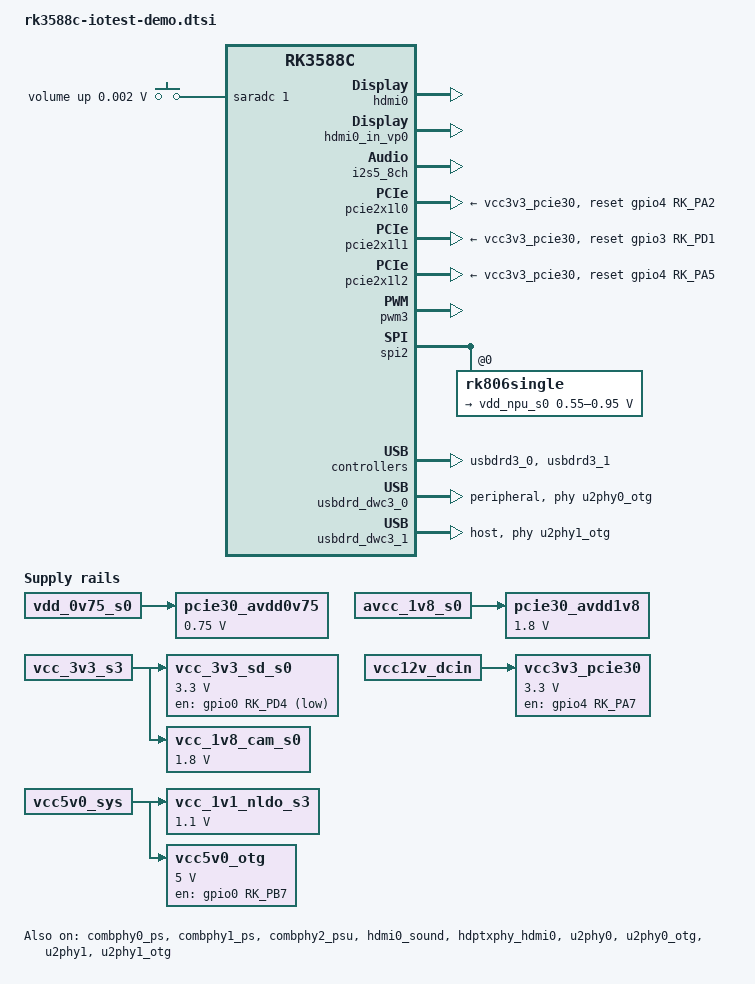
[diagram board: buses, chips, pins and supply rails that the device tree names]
// SPDX-License-Identifier: (GPL-2.0+ OR MIT)
/*
 * Copyright (c) 2021 Rockchip Electronics Co., Ltd.
 *
 */

#include <dt-bindings/gpio/gpio.h>
#include <dt-bindings/pwm/pwm.h>
#include <dt-bindings/pinctrl/rockchip.h>
#include <dt-bindings/input/rk-input.h>
#include <dt-bindings/display/rockchip_vop.h>
#include "dt-bindings/usb/pd.h"
#include "rk3588c-iotest.dtsi"
#include "rk3588-rk806-single.dtsi"

/ {
	adc_keys: adc-keys {
		compatible = "adc-keys";
		io-channels = <&saradc 1>;
		io-channel-names = "buttons";
		keyup-threshold-microvolt = <1800000>;
		poll-interval = <100>;

		vol-up-key {
			label = "volume up";
			linux,code = <KEY_VOLUMEUP>;
			press-threshold-microvolt = <1750>;
		};
	};

	pcie30_avdd0v75: pcie30-avdd0v75 {
		compatible = "regulator-fixed";
		regulator-name = "pcie30_avdd0v75";
		regulator-boot-on;
		regulator-always-on;
		regulator-min-microvolt = <750000>;
		regulator-max-microvolt = <750000>;
		vin-supply = <&vdd_0v75_s0>;
	};

	pcie30_avdd1v8: pcie30-avdd1v8 {
		compatible = "regulator-fixed";
		regulator-name = "pcie30_avdd1v8";
		regulator-boot-on;
		regulator-always-on;
		regulator-min-microvolt = <1800000>;
		regulator-max-microvolt = <1800000>;
		vin-supply = <&avcc_1v8_s0>;
	};

	reserved-memory {
		#address-cells = <2>;
		#size-cells = <2>;
		ranges;
		dma_trans: dma-trans@3c000000 {
			reg = <0x0 0x3c000000 0x0 0x04000000>;
		};
		user_region: user_region@0x10000000 {
			reg = <0x0 0x10000000 0x0 0x1000>;
		};
	};

	vcc_3v3_sd_s0: vcc-3v3-sd-s0 {
		compatible = "regulator-fixed";
		regulator-name = "vcc_3v3_sd_s0";
		regulator-min-microvolt = <3300000>;
		regulator-max-microvolt = <3300000>;
		gpios = <&gpio0 RK_PD4 GPIO_ACTIVE_LOW>;
		enable-active-low;
		vin-supply = <&vcc_3v3_s3>;
		regulator-state-mem {
				regulator-off-in-suspend;
		};
	};

	vcc3v3_pcie30: vcc3v3-pcie30 {
		compatible = "regulator-fixed";
		regulator-name = "vcc3v3_pcie30";
		regulator-min-microvolt = <3300000>;
		regulator-max-microvolt = <3300000>;
		enable-active-high;
		gpio = <&gpio4 RK_PA7 GPIO_ACTIVE_HIGH>;
		startup-delay-us = <100000>;
		vin-supply = <&vcc12v_dcin>;
		pinctrl-names = "default";
		pinctrl-0 = <&pcie30_pwr_en>;
	};

	vcc_1v1_nldo_s3: vcc-1v1-nldo-s3 {
		compatible = "regulator-fixed";
		regulator-name = "vcc_1v1_nldo_s3";
		regulator-always-on;
		regulator-boot-on;
		regulator-min-microvolt = <1100000>;
		regulator-max-microvolt = <1100000>;
		vin-supply = <&vcc5v0_sys>;
	};

	vcc_1v8_cam_s0: vcc-1v8-cam-s0 {
		compatible = "regulator-fixed";
		regulator-name = "vcc_1v8_cam_s0";
		regulator-min-microvolt = <1800000>;
		regulator-max-microvolt = <1800000>;
		vin-supply = <&vcc_3v3_s3>;
	};

	vcc5v0_otg: vcc5v0-otg-regulator {
		compatible = "regulator-fixed";
		regulator-name = "vcc5v0_otg";
		regulator-min-microvolt = <5000000>;
		regulator-max-microvolt = <5000000>;
		enable-active-high;
		gpio = <&gpio0 RK_PB7 GPIO_ACTIVE_HIGH>;
		vin-supply = <&vcc5v0_sys>;
		pinctrl-names = "default";
		pinctrl-0 = <&vcc5v0_otg_en>;
	};

	test-power {
		status = "okay";
	};
};

&combphy0_ps {
	status = "okay";
};

&combphy1_ps {
	status = "okay";
};

&combphy2_psu {
	status = "okay";
};

&hdmi0 {
	pinctrl-names = "default";
	pinctrl-0 = <&hdmim0_tx0_hpd &hdmim0_tx0_scl &hdmim0_tx0_sda &hdmim0_tx0_cec>;
	enable-gpios = <&gpio1 RK_PA4 GPIO_ACTIVE_HIGH>;
	status = "okay";
};

&hdmi0_in_vp0 {
	status = "okay";
};

&hdmi0_in_vp1 {
	status = "disabled";
};

&hdmi0_in_vp2 {
	status = "disabled";
};

&hdmi0_sound {
	status = "okay";
};

&hdptxphy_hdmi0 {
	status = "okay";
};

&i2s5_8ch {
	status = "okay";
};

&pcie2x1l0 {
	reset-gpios = <&gpio4 RK_PA2 GPIO_ACTIVE_HIGH>;
	vpcie3v3-supply = <&vcc3v3_pcie30>;
	status = "okay";
};

&pcie2x1l1 {
	reset-gpios = <&gpio3 RK_PD1 GPIO_ACTIVE_HIGH>;
	vpcie3v3-supply = <&vcc3v3_pcie30>;
	status = "okay";
};

&pcie2x1l2 {
	reset-gpios = <&gpio4 RK_PA5 GPIO_ACTIVE_HIGH>;
	vpcie3v3-supply = <&vcc3v3_pcie30>;
	status = "okay";
};

&pcie30phy {
	status = "disabled";
};

&pcie3x4 {
	compatible = "rockchip,rk3588-pcie-ep";
	vpcie3v3-supply = <&vcc3v3_pcie30>;
	memory-region = <&dma_trans>;
	memory-region1 = <&user_region>;
	busno = <1>;
	status = "disabled";
};

&pwm3 {
	compatible = "rockchip,remotectl-pwm";
	pinctrl-names = "default";
	pinctrl-0 = <&pwm3m0_pins>;
	remote_pwm_id = <3>;
	handle_cpu_id = <1>;
	remote_support_psci = <0>;
	status = "okay";

	ir_key1 {
		rockchip,usercode = <0x4040>;
		rockchip,key_table =
			<0xf2   KEY_REPLY>,
			<0xba   KEY_BACK>,
			<0xf4   KEY_UP>,
			<0xf1   KEY_DOWN>,
			<0xef   KEY_LEFT>,
			<0xee   KEY_RIGHT>,
			<0xbd   KEY_HOME>,
			<0xea   KEY_VOLUMEUP>,
			<0xe3   KEY_VOLUMEDOWN>,
			<0xe2   KEY_SEARCH>,
			<0xb2   KEY_POWER>,
			<0xbc   KEY_MUTE>,
			<0xec   KEY_MENU>,
			<0xbf   0x190>,
			<0xe0   0x191>,
			<0xe1   0x192>,
			<0xe9   183>,
			<0xe6   248>,
			<0xe8   185>,
			<0xe7   186>,
			<0xf0   388>,
			<0xbe   0x175>;
	};
	ir_key2 {
		rockchip,usercode = <0xff00>;
		rockchip,key_table =
			<0xf9	KEY_HOME>,
			<0xbf	KEY_BACK>,
			<0xfb	KEY_MENU>,
			<0xaa	KEY_REPLY>,
			<0xb9	KEY_UP>,
			<0xe9	KEY_DOWN>,
			<0xb8	KEY_LEFT>,
			<0xea	KEY_RIGHT>,
			<0xeb	KEY_VOLUMEDOWN>,
			<0xef	KEY_VOLUMEUP>,
			<0xf7	KEY_MUTE>,
			<0xe7	KEY_POWER>,
			<0xfc	KEY_POWER>,
			<0xa9	KEY_VOLUMEDOWN>,
			<0xa8	KEY_PLAYPAUSE>,
			<0xe0	KEY_VOLUMEDOWN>,
			<0xa5	KEY_VOLUMEDOWN>,
			<0xab	183>,
			<0xb7	388>,
			<0xe8	388>,
			<0xf8	184>,
			<0xaf	185>,
			<0xed	KEY_VOLUMEDOWN>,
			<0xee	186>,
			<0xb3	KEY_VOLUMEDOWN>,
			<0xf1	KEY_VOLUMEDOWN>,
			<0xf2	KEY_VOLUMEDOWN>,
			<0xf3	KEY_SEARCH>,
			<0xb4	KEY_VOLUMEDOWN>,
			<0xa4	KEY_SETUP>,
			<0xbe	KEY_SEARCH>;
	};
	ir_key3 {
		rockchip,usercode = <0x1dcc>;
		rockchip,key_table =
			<0xee	KEY_REPLY>,
			<0xf0	KEY_BACK>,
			<0xf8	KEY_UP>,
			<0xbb	KEY_DOWN>,
			<0xef	KEY_LEFT>,
			<0xed	KEY_RIGHT>,
			<0xfc	KEY_HOME>,
			<0xf1	KEY_VOLUMEUP>,
			<0xfd	KEY_VOLUMEDOWN>,
			<0xb7	KEY_SEARCH>,
			<0xff	KEY_POWER>,
			<0xf3	KEY_MUTE>,
			<0xbf	KEY_MENU>,
			<0xf9	0x191>,
			<0xf5	0x192>,
			<0xb3	388>,
			<0xbe	KEY_1>,
			<0xba	KEY_2>,
			<0xb2	KEY_3>,
			<0xbd	KEY_4>,
			<0xf9	KEY_5>,
			<0xb1	KEY_6>,
			<0xfc	KEY_7>,
			<0xf8	KEY_8>,
			<0xb0	KEY_9>,
			<0xb6	KEY_0>,
			<0xb5	KEY_BACKSPACE>;
	};
};

&sata0 {
	status = "disabled";
};

&spi2 {
	rk806single@0 {
		pinctrl-names = "default", "pmic-power-off";
		pinctrl-0 = <&pmic_pins>, <&rk806_dvs1_null>, <&rk806_dvs2_null>, <&rk806_dvs3_null>;
		pinctrl-1 = <&rk806_dvs1_slp>, <&rk806_dvs2_null>, <&rk806_dvs3_null>;
		regulators {
			/delete-node/ DCDC_REG4;

			vdd_npu_s0: vdd_npu_mem_s0: DCDC_REG4 {
				regulator-always-on;
				regulator-boot-on;
				regulator-min-microvolt = <550000>;
				regulator-max-microvolt = <950000>;
				regulator-init-microvolt = <750000>;
				regulator-ramp-delay = <2500>;
				regulator-name = "vdd_npu_s0";
				regulator-state-mem {
					regulator-off-in-suspend;
				};
			};
		};
	};
};

&u2phy0 {
	status = "okay";
};

&u2phy0_otg {
	rockchip,sel-pipe-phystatus;
	//vbus-supply = <&vcc5v0_otg>;
	status = "okay";
};

&u2phy1 {
	status = "okay";
};

&u2phy1_otg {
	rockchip,sel-pipe-phystatus;
	status = "okay";
};

&u2phy2 {
	status = "disabled";
};

&u2phy2_host {
	status = "disabled";
};

&u2phy3 {
	status = "disabled";
};

&u2phy3_host {
	status = "disabled";
};

&usbdp_phy0 {
	status = "disabled";
};

&usbdp_phy0_dp {
	status = "disabled";
};

&usbdp_phy0_u3 {
	status = "disabled";
};

&usbdrd3_0 {
	status = "okay";
};

&usbdrd3_1 {
	status = "okay";
};

&usbdrd_dwc3_0 {
	status = "okay";
	dr_mode = "peripheral";
	maximum-speed = "high-speed";
	phy-name = "usb2-phy0";
	phys = <&u2phy0_otg>;
};

&usbdrd_dwc3_1 {
	status = "okay";
	dr_mode = "host";
	maximum-speed = "high-speed";
	phy-name = "usb2-phy1";
	phys = <&u2phy1_otg>;
};

&usbhost3_0 {
	status = "disabled";
};

&usbhost_dwc3_0 {
	dr_mode = "host";
	status = "disabled";
};

&usb_host0_ehci {
	status = "disabled";
};

&usb_host0_ohci {
	status = "disabled";
};

&usb_host1_ehci {
	status = "disabled";
};

&usb_host1_ohci {
	status = "disabled";
};

&pinctrl {
	pinctrl-names = "default";
	pinctrl-0 = <&clk32k_out0 &dcdc_ctrl>;

	dcdc {
		dcdc_ctrl: dcdc-ctrl {
			rockchip,pins = <3 RK_PB2 RK_FUNC_GPIO &pcfg_output_high>;
		};
	};

	pcie30 {
		pcie30_pwr_en: pcie30-pwr-en {
			rockchip,pins = <0 RK_PC2 RK_FUNC_GPIO &pcfg_pull_none>;
		};
	};

	usb {
		vcc5v0_host_en: vcc5v0-host-en {
			rockchip,pins = <0 RK_PC1 RK_FUNC_GPIO &pcfg_pull_none>;
		};

		vcc5v0_otg_en: vcc5v0-otg-en {
			rockchip,pins = <0 RK_PB7 RK_FUNC_GPIO &pcfg_pull_none>;
		};
	};
};


